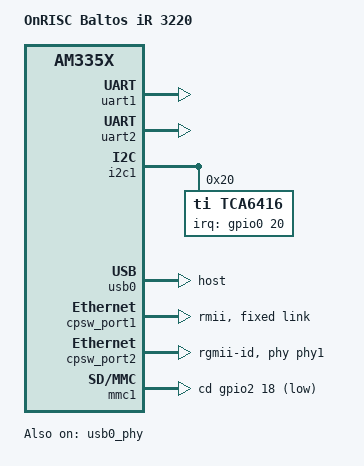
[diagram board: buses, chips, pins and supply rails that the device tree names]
// SPDX-License-Identifier: GPL-2.0-only
/*
 * Copyright (C) 2012 Texas Instruments Incorporated - https://www.ti.com/
 */

/*
 * VScom OnRISC
 * https://www.vscom.de
 */

/dts-v1/;

#include "am335x-baltos.dtsi"
#include "am335x-baltos-leds.dtsi"

/ {
	model = "OnRISC Baltos iR 3220";
};

&am33xx_pinmux {
	tca6416_pins: tca6416-pins {
		pinctrl-single,pins = <
			AM33XX_PADCONF(AM335X_PIN_XDMA_EVENT_INTR1, PIN_INPUT_PULLUP, MUX_MODE7)      /* xdma_event_intr1.gpio0[20] tca6416 stuff */
		>;
	};

	uart1_pins: uart1-pins {
		pinctrl-single,pins = <
			AM33XX_PADCONF(AM335X_PIN_UART1_RXD, PIN_INPUT, MUX_MODE0)
			AM33XX_PADCONF(AM335X_PIN_UART1_TXD, PIN_INPUT, MUX_MODE0)
			AM33XX_PADCONF(AM335X_PIN_UART1_CTSN, PIN_INPUT_PULLDOWN, MUX_MODE0)
			AM33XX_PADCONF(AM335X_PIN_UART1_RTSN, PIN_OUTPUT_PULLDOWN, MUX_MODE0)
			AM33XX_PADCONF(AM335X_PIN_LCD_VSYNC, PIN_OUTPUT_PULLDOWN, MUX_MODE7)      /* lcd_vsync.gpio2[22] DTR */
			AM33XX_PADCONF(AM335X_PIN_LCD_HSYNC, PIN_INPUT_PULLDOWN, MUX_MODE7)      /* lcd_hsync.gpio2[23] DSR */
			AM33XX_PADCONF(AM335X_PIN_LCD_PCLK, PIN_INPUT_PULLDOWN, MUX_MODE7)      /* lcd_pclk.gpio2[24] DCD */
			AM33XX_PADCONF(AM335X_PIN_LCD_AC_BIAS_EN, PIN_INPUT_PULLDOWN, MUX_MODE7)      /* lcd_ac_bias_en.gpio2[25] RI */
		>;
	};

	uart2_pins: uart2-pins {
		pinctrl-single,pins = <
			AM33XX_PADCONF(AM335X_PIN_SPI0_SCLK, PIN_INPUT, MUX_MODE1)      /* spi0_sclk.uart2_rxd_mux3 */
			AM33XX_PADCONF(AM335X_PIN_SPI0_D0, PIN_OUTPUT, MUX_MODE1)      /* spi0_d0.uart2_txd_mux3 */
			AM33XX_PADCONF(AM335X_PIN_I2C0_SDA, PIN_INPUT_PULLDOWN, MUX_MODE2)      /* i2c0_sda.uart2_ctsn_mux0 */
			AM33XX_PADCONF(AM335X_PIN_I2C0_SCL, PIN_OUTPUT_PULLDOWN, MUX_MODE2)      /* i2c0_scl.uart2_rtsn_mux0 */
			AM33XX_PADCONF(AM335X_PIN_GPMC_AD12, PIN_OUTPUT_PULLDOWN, MUX_MODE7)      /* gpmc_ad12.gpio1[12] DTR */
			AM33XX_PADCONF(AM335X_PIN_GPMC_AD13, PIN_INPUT_PULLDOWN, MUX_MODE7)      /* gpmc_ad13.gpio1[13] DSR */
			AM33XX_PADCONF(AM335X_PIN_GPMC_AD14, PIN_INPUT_PULLDOWN, MUX_MODE7)      /* gpmc_ad14.gpio1[14] DCD */
			AM33XX_PADCONF(AM335X_PIN_GPMC_AD15, PIN_INPUT_PULLDOWN, MUX_MODE7)     /* gpmc_ad15.gpio1[15] RI */

			AM33XX_PADCONF(AM335X_PIN_MCASP0_ACLKR, PIN_INPUT_PULLUP, MUX_MODE7)      /* mcasp0_aclkr.gpio3[18], INPUT_PULLDOWN | MODE7 */
		>;
	};

	mmc1_pins: mmc1-pins {
		pinctrl-single,pins = <
			AM33XX_PADCONF(AM335X_PIN_MII1_RXD3, PIN_INPUT, MUX_MODE7)     /* MMC1 CD */
		>;
	};
};

&uart1 {
	pinctrl-names = "default";
	pinctrl-0 = <&uart1_pins>;
	dtr-gpios = <&gpio2 22 GPIO_ACTIVE_LOW>;
	dsr-gpios = <&gpio2 23 GPIO_ACTIVE_LOW>;
	dcd-gpios = <&gpio2 24 GPIO_ACTIVE_LOW>;
	rng-gpios = <&gpio2 25 GPIO_ACTIVE_LOW>;

	status = "okay";
};

&uart2 {
	pinctrl-names = "default";
	pinctrl-0 = <&uart2_pins>;
	dtr-gpios = <&gpio1 12 GPIO_ACTIVE_LOW>;
	dsr-gpios = <&gpio1 13 GPIO_ACTIVE_LOW>;
	dcd-gpios = <&gpio1 14 GPIO_ACTIVE_LOW>;
	rng-gpios = <&gpio1 15 GPIO_ACTIVE_LOW>;

	status = "okay";
};

&i2c1 {
	tca6416: gpio@20 {
		compatible = "ti,tca6416";
		reg = <0x20>;
		gpio-controller;
		#gpio-cells = <2>;
		interrupt-parent = <&gpio0>;
		interrupts = <20 IRQ_TYPE_EDGE_RISING>;
		pinctrl-names = "default";
		pinctrl-0 = <&tca6416_pins>;
		gpio-line-names = "GP_IN0", "GP_IN1", "GP_IN2", "GP_IN3",
				  "GP_OUT0", "GP_OUT1", "GP_OUT2", "GP_OUT3",
				  "ModeA0", "ModeA1", "ModeA2", "ModeA3",
				  "ModeB0", "ModeB1", "ModeB2", "ModeB3";
	};
};

&usb0_phy {
	status = "okay";
};

&usb0 {
	status = "okay";
	dr_mode = "host";
};

&cpsw_port1 {
	phy-mode = "rmii";
	ti,dual-emac-pvid = <1>;
	fixed-link {
		speed = <100>;
		full-duplex;
	};
};

&cpsw_port2 {
	phy-mode = "rgmii-id";
	ti,dual-emac-pvid = <2>;
	phy-handle = <&phy1>;
};

&mmc1 {
	pinctrl-names = "default";
	pinctrl-0 = <&mmc1_pins>;
	cd-gpios = <&gpio2 18 GPIO_ACTIVE_LOW>;
};

&gpio0 {
	gpio-line-names =
		"MDIO",
		"MDC",
		"UART2_RX",
		"UART2_TX",
		"I2C1_SDA",
		"I2C1_SCL",
		"WLAN_BTN",
		"W_DISABLE",
		"NC",
		"NC",
		"NC",
		"NC",
		"UART1_CTSN",
		"UART1_RTSN",
		"UART1_RX",
		"UART1_TX",
		"onrisc:blue:wlan",
		"onrisc:green:app",
		"USB0_DRVVBUS",
		"ETH2_INT",
		"TCA6416_INT",
		"RMII1_TXD1",
		"MMC1_DAT0",
		"MMC1_DAT1",
		"NC",
		"NC",
		"MMC1_DAT2",
		"MMC1_DAT3",
		"RMII1_TXD0",
		"NC",
		"GPMC_WAIT0",
		"GPMC_WP_N";
};

&gpio1 {
	gpio-line-names =
		"GPMC_AD0",
		"GPMC_AD1",
		"GPMC_AD2",
		"GPMC_AD3",
		"GPMC_AD4",
		"GPMC_AD5",
		"GPMC_AD6",
		"GPMC_AD7",
		"NC",
		"NC",
		"CONSOLE_RX",
		"CONSOLE_TX",
		"UART2_DTR",
		"UART2_DSR",
		"UART2_DCD",
		"UART2_RI",
		"RGMII2_TCTL",
		"RGMII2_RCTL",
		"RGMII2_TD3",
		"RGMII2_TD2",
		"RGMII2_TD1",
		"RGMII2_TD0",
		"RGMII2_TCLK",
		"RGMII2_RCLK",
		"RGMII2_RD3",
		"RGMII2_RD2",
		"RGMII2_RD1",
		"RGMII2_RD0",
		"PMIC_INT1",
		"GPMC_CSN0_Flash",
		"MMC1_CLK",
		"MMC1_CMD";
};

&gpio2 {
	gpio-line-names =
		"GPMC_CSN3_BUS",
		"GPMC_CLK",
		"GPMC_ADVN_ALE",
		"GPMC_OEN_RE_N",
		"GPMC_WE_N",
		"GPMC_BEN0_CLE",
		"NC",
		"NC",
		"NC",
		"NC",
		"NC",
		"NC",
		"NC",
		"NC",
		"NC",
		"NC",
		"NC",
		"NC",
		"SD_CD",
		"SD_WP",
		"RMII1_RXD1",
		"RMII1_RXD0",
		"UART1_DTR",
		"UART1_DSR",
		"UART1_DCD",
		"UART1_RI",
		"MMC0_DAT3",
		"MMC0_DAT2",
		"MMC0_DAT1",
		"MMC0_DAT0",
		"MMC0_CLK",
		"MMC0_CMD";
};

&gpio3 {
	gpio-line-names =
		"onrisc:red:power",
		"RMII1_CRS_DV",
		"RMII1_RXER",
		"RMII1_TXEN",
		"3G_PWR_EN",
		"UART2_CTSN",
		"UART2_RTSN",
		"WLAN_IRQ",
		"WLAN_EN",
		"NC",
		"NC",
		"NC",
		"NC",
		"USB1_DRVVBUS",
		"NC",
		"NC",
		"NC",
		"NC",
		"NC",
		"NC",
		"NC",
		"NC",
		"NC",
		"NC",
		"NC",
		"NC",
		"NC",
		"NC",
		"NC",
		"NC",
		"NC",
		"NC";
};
